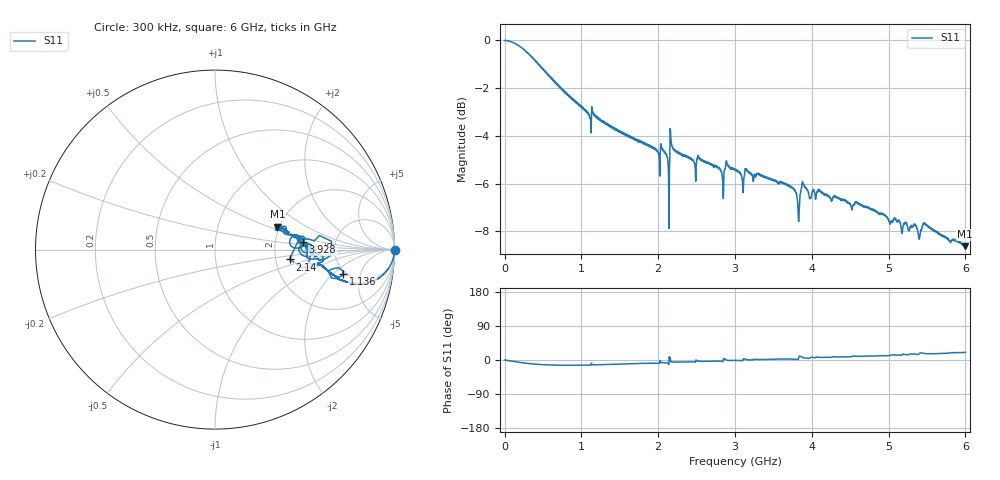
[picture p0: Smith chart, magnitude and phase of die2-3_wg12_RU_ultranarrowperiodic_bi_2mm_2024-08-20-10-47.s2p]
!Keysight Technologies,P9374A,MY57304198,A.17.20.09
!Date: Tuesday, August 20, 2024 10:47:11
!Correction: S11(C  1-Port  )
!S21(C  1-Port  )
!S12(Off)
!S22(Off)
!S2P File: Measurements: S11, S21, S12, S22:
# Hz S  dB  R 50
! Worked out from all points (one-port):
!   6000 points, 300 kHz to 6 GHz, reference 50 ohm
!   lowest |S11| = -8.6 dB at 5.993 GHz (marker M1), VSWR 2.18, Z = 97.7 + j28.9 ohm
!   |S11| at or under -10 dB: nowhere
!   S11 on the Smith chart (normalised r, x): 300 kHz: open; 1.136 GHz: 4.71, -2.70; 2.14 GHz: 2.39, -0.32; 3.928 GHz: 2.89, +0.32; 6 GHz: 1.96, +0.58
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300000  0.00 -0.0  -200.00 45.0  -200.00 45.0  -200.00 45.0
2.433284e8  -0.35 -7.4  -200.00 45.0  -200.00 45.0  -200.00 45.0
4.223492e8  -0.91 -11.1  -200.00 45.0  -200.00 45.0  -200.00 45.0
1.000417e9  -2.81 -13.6  -200.00 45.0  -200.00 45.0  -200.00 45.0
1.136433e9  -2.78 -10.7  -200.00 45.0  -200.00 45.0  -200.00 45.0
2.000533e9  -4.73 -8.3  -200.00 45.0  -200.00 45.0  -200.00 45.0
2.108546e9  -4.83 -7.6  -200.00 45.0  -200.00 45.0  -200.00 45.0
2.13955e9  -7.56 -7.5  -200.00 45.0  -200.00 45.0  -200.00 45.0
2.182555e9  -4.44 -5.3  -200.00 45.0  -200.00 45.0  -200.00 45.0
2.469588e9  -5.13 -5.2  -200.00 45.0  -200.00 45.0  -200.00 45.0
2.815628e9  -5.47 -3.2  -200.00 45.0  -200.00 45.0  -200.00 45.0
2.877636e9  -5.28 2.2  -200.00 45.0  -200.00 45.0  -200.00 45.0
3.00065e9  -5.40 -1.1  -200.00 45.0  -200.00 45.0  -200.00 45.0
3.710733e9  -6.13 2.6  -200.00 45.0  -200.00 45.0  -200.00 45.0
3.825746e9  -7.48 2.9  -200.00 45.0  -200.00 45.0  -200.00 45.0
3.86075e9  -6.26 8.5  -200.00 45.0  -200.00 45.0  -200.00 45.0
3.927758e9  -6.18 4.9  -200.00 45.0  -200.00 45.0  -200.00 45.0
4.000767e9  -6.44 7.6  -200.00 45.0  -200.00 45.0  -200.00 45.0
5.000883e9  -7.56 11.2  -200.00 45.0  -200.00 45.0  -200.00 45.0
5.436934e9  -7.81 18.7  -200.00 45.0  -200.00 45.0  -200.00 45.0
5.992999e9  -8.63 20.1  -200.00 45.0  -200.00 45.0  -200.00 45.0
6e9  -8.59 20.2  -200.00 45.0  -200.00 45.0  -200.00 45.0
